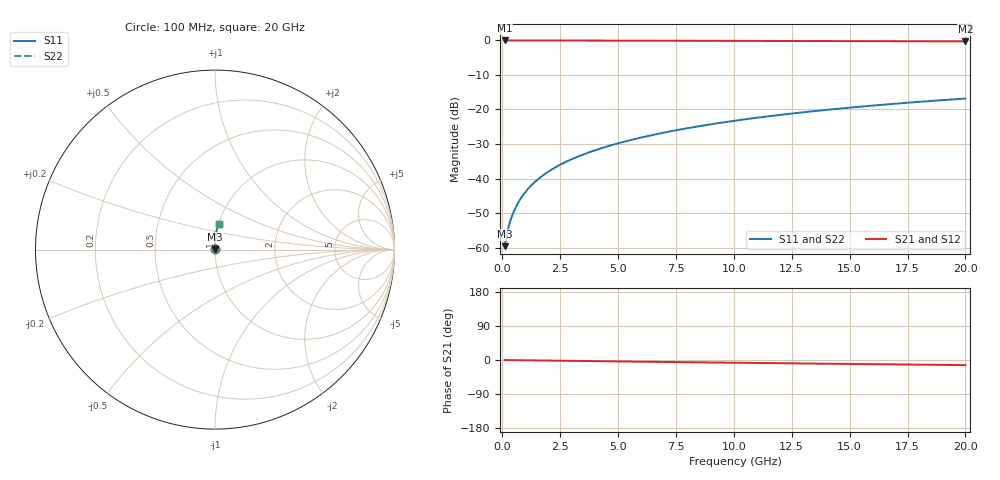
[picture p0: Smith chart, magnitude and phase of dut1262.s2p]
! Touchstone file exported from HFSS 2024.1.0
!  File:  C:/UserFiles/LocalFiles/RDL_TSV_Batchsim/temp_RDL_top_1262_1780241816.aedt
!  Generated:  11:39:15 PM May 31, 2026
!  Design:  RDL_top
!  Project:  temp_RDL_top_1262_1780241816
!  Setup:  Setup1
!  Solution:  Sweep
! Variables:
!  dtsv = 10.80580581um
!  hbump = 3um
!  htsv = 83.92um
!  ldown = 100um
!  lrdl = 172.08um
!  p = 40
!  p1 = 46.42um
!  rhole = 1um
!  t = 450um
!  tdown = 3.915915916um
!  trdl = 4.53um
!  wdown = 15.38538539um
!  wrdl = 21.73um
# GHz S MA R 50.000000
! Terminal data exported
! Port[1] = Box2_T1
! Port[2] = Box2_T2
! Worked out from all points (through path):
!   200 points, 100 MHz to 20 GHz, reference 50 ohm
!   highest |S21| = -0.01 dB at 100 MHz (marker M1); lowest = -0.3 dB at 20 GHz (marker M2)
!   group delay of S21, straight-line fit = 1.86 ps
!   lowest |S11| = -59.6 dB at 100 MHz (marker M3), VSWR 1.00, Z = 50.1 + j0.069 ohm
!   |S11| at or under -10 dB: start of sweep to end of sweep
!   |S22| runs from -59.6 to -16.8 dB; largest |S21 - S12| = 4.3e-15
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0.1  0.001048 41.1  0.9992 -0.1  0.9992 -0.1  0.001048 41.1
! Gamma 0 0 0 0
! Port Impedance 50 0 50 0
0.2  0.001582 58.3  0.9992 -0.2  0.9992 -0.2  0.001582 58.3
0.3  0.002159 66.3  0.9991 -0.2  0.9991 -0.2  0.002159 66.3
0.4  0.002746 71.1  0.9991 -0.3  0.9991 -0.3  0.002746 71.1
0.5  0.003341 74.3  0.999 -0.4  0.999 -0.4  0.003341 74.3
0.6  0.003943 76.6  0.999 -0.5  0.999 -0.5  0.003943 76.6
0.8  0.00516 79.8  0.9989 -0.6  0.9989 -0.6  0.00516 79.8
1.1  0.007011 82.6  0.9987 -0.9  0.9987 -0.9  0.007011 82.6
1.5  0.009506 84.8  0.9985 -1.2  0.9985 -1.2  0.009506 84.8
1.8  0.01139 85.8  0.9982 -1.4  0.9982 -1.4  0.01139 85.8
2.1  0.01329 86.6  0.998 -1.6  0.998 -1.6  0.01329 86.6
2.7  0.01712 87.7  0.9973 -2.1  0.9973 -2.1  0.01712 87.7
3.5  0.02231 88.6  0.9963 -2.7  0.9963 -2.7  0.02231 88.6
4.2  0.02694 89.1  0.9953 -3.2  0.9953 -3.2  0.02694 89.1
5  0.03234 89.5  0.994 -3.8  0.994 -3.8  0.03234 89.5
5.9  0.03856 89.6  0.9924 -4.4  0.9924 -4.4  0.03856 89.6
6.8  0.04492 89.6  0.9908 -5.0  0.9908 -5.0  0.04492 89.6
8.4  0.05652 89.3  0.988 -6.1  0.988 -6.1  0.05652 89.3
10.1  0.06917 88.5  0.985 -7.3  0.985 -7.3  0.06917 88.5
13.4  0.09417 86.5  0.9794 -9.4  0.9794 -9.4  0.09417 86.5
16.7  0.1192 84.0  0.974 -11.5  0.974 -11.5  0.1192 84.0
20  0.144 81.6  0.9686 -13.5  0.9686 -13.5  0.144 81.6
